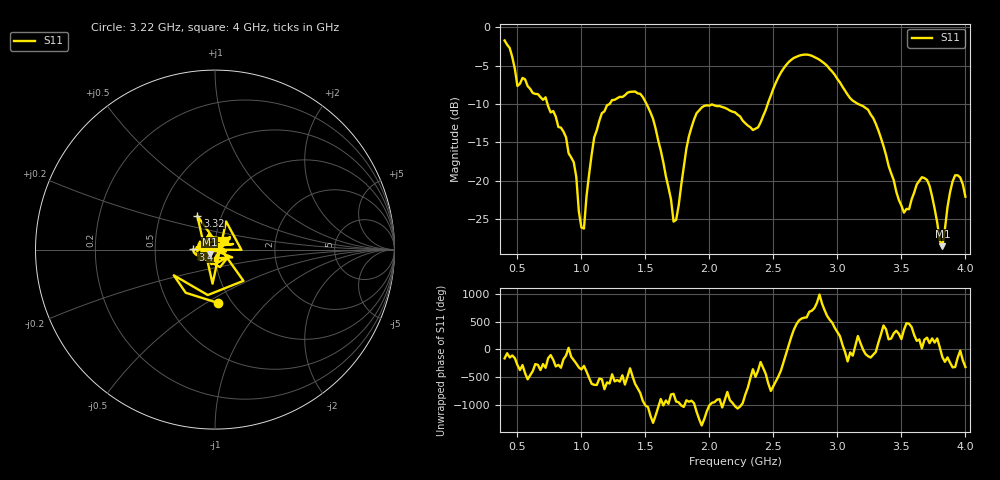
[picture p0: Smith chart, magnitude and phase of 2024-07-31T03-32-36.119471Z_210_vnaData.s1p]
!Created with skrf (http://scikit-rf.org).
# Hz S RI R 50.0
!freq ReS11 ImS11
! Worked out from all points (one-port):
!   181 points, 400 MHz to 4 GHz, reference 50 ohm
!   lowest |S11| = -28.5 dB at 3.82 GHz (marker M1), VSWR 1.08, Z = 47.2 - j2.33 ohm
!   |S11| at or under -10 dB: 735.2 MHz to 1.22 GHz (484.7 MHz wide, 49.6 % of centre); 1.509 GHz to 2.455 GHz (946.1 MHz wide, 47.7 % of centre); 3.164 GHz to end of sweep
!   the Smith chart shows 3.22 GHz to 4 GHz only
!   S11 on the Smith chart (normalised r, x): 3.22 GHz: 0.87, -0.57; 3.32 GHz: 0.77, +0.30; 3.4 GHz: 0.78, +0.00; 4 GHz: 1.12, +0.12
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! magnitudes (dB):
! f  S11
! 400 MHz  -1.7
! 500 MHz  -7.6
! 720 MHz  -9.1
! 860 MHz  -13.6
! 940 MHz  -17.6
! 980 MHz  -24.0
! 1.02 GHz  -26.2
! 1.1 GHz  -14.3
! 1.3 GHz  -9.0
! 1.5 GHz  -9.7
! 1.62 GHz  -16.0
! 1.72 GHz  -25.3
! 1.76 GHz  -23.2
! 1.82 GHz  -15.8
! 1.9 GHz  -11.2
! 2.2 GHz  -11.1
! 2.38 GHz  -13.0
! 2.66 GHz  -4.0
! 2.86 GHz  -4.2
! 3.1 GHz  -9.2
! 3.22 GHz  -10.5
! 3.32 GHz  -13.4
! 3.4 GHz  -18.0
! 3.56 GHz  -23.7
! 3.7 GHz  -19.9
! 3.82 GHz  -28.5
! 3.92 GHz  -19.3
! 4 GHz  -22.1
